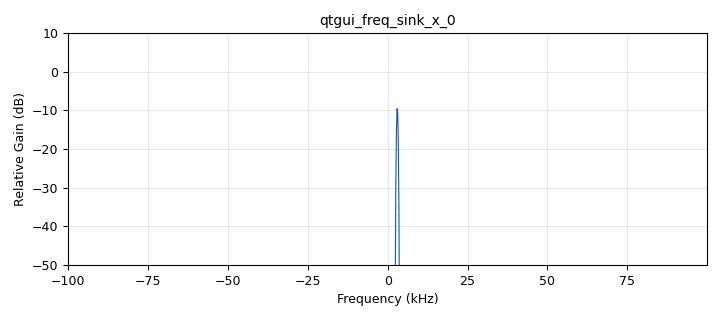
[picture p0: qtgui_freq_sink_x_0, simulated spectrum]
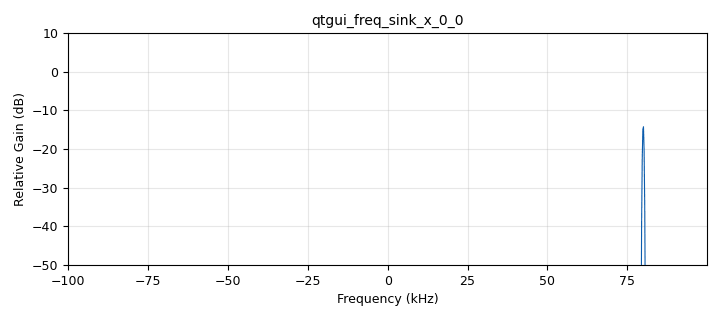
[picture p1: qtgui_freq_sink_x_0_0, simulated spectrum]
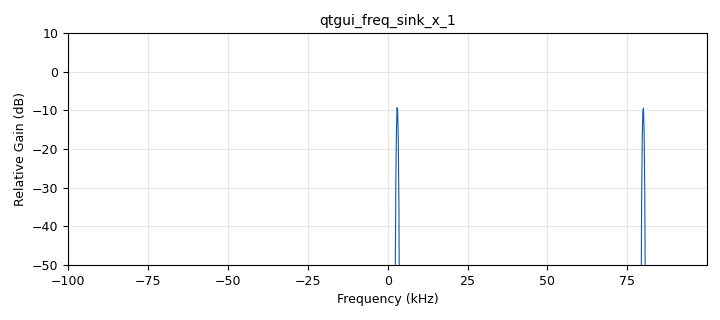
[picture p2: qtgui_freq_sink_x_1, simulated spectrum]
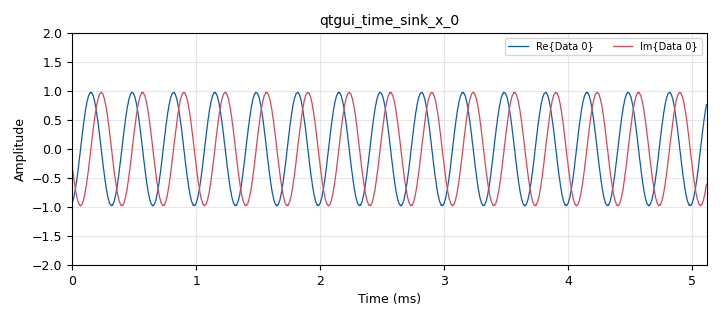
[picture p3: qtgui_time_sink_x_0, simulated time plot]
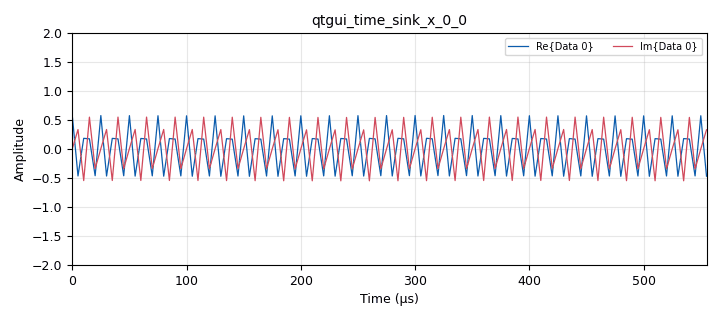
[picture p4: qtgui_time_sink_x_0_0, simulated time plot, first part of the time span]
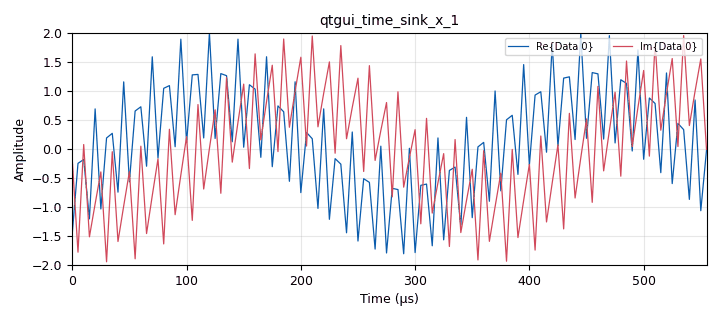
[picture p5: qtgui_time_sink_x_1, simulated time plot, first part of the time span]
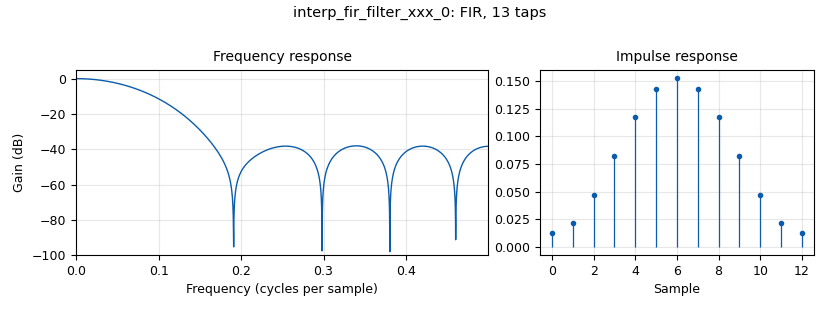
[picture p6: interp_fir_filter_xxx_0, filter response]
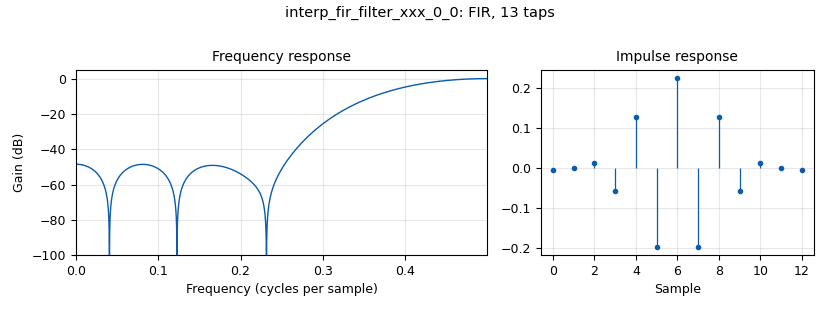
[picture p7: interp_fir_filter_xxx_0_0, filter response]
<?xml version='1.0' encoding='utf-8'?>
<?grc format='1' created='3.7.11'?>
<flow_graph>
<block>
<key>options</key>
<param><key>id</key><value>top_block</value></param>
<param><key>category</key><value>Custom</value></param>
<param><key>generate_options</key><value>qt_gui</value></param>
<param><key>title</key><value>Experimento Filtros</value></param>
</block>
<block>
<key>variable</key>
<param><key>id</key><value>samp_rate</value></param>
<param><key>value</key><value>200000</value></param>
</block>
<block>
<key>qtgui_tab_widget</key>
<param><key>id</key><value>aba</value></param>
<param><key>label0</key><value>Sinal Original</value></param>
<param><key>label1</key><value>Sinal filtrado (passa-baixa)</value></param>
<param><key>label2</key><value>Sinal filtrado (passa-alta)</value></param>
<param><key>num_tabs</key><value>3</value></param>
</block>
<block>
<key>analog_sig_source_x</key>
<param><key>id</key><value>analog_sig_source_x_0</value></param>
<param><key>amp</key><value>1</value></param>
<param><key>freq</key><value>3000</value></param>
<param><key>offset</key><value>0</value></param>
<param><key>type</key><value>complex</value></param>
<param><key>samp_rate</key><value>samp_rate</value></param>
<param><key>waveform</key><value>analog.GR_COS_WAVE</value></param>
</block>
<block>
<key>analog_sig_source_x</key>
<param><key>id</key><value>analog_sig_source_x_1</value></param>
<param><key>amp</key><value>1</value></param>
<param><key>freq</key><value>80000</value></param>
<param><key>offset</key><value>0</value></param>
<param><key>type</key><value>complex</value></param>
<param><key>samp_rate</key><value>samp_rate</value></param>
<param><key>waveform</key><value>analog.GR_COS_WAVE</value></param>
</block>
<block>
<key>blocks_add_xx</key>
<param><key>id</key><value>blocks_add_xx_0</value></param>
<param><key>type</key><value>complex</value></param>
</block>
<block>
<key>interp_fir_filter_xxx</key>
<param><key>id</key><value>interp_fir_filter_xxx_0</value></param>
<param><key>interp</key><value>1</value></param>
<param><key>taps</key><value>[0.012135352939367294, 0.02152285724878311, 0.04717971757054329, 0.0822787955403328, 0.11742003262042999, 0.14316627383232117, 0.1525939404964447, 0.14316627383232117, 0.11742003262042999, 0.0822787955403328, 0.04717971757054329, 0.02152285724878311, 0.012135352939367294]</value></param>
<param><key>type</key><value>ccc</value></param>
</block>
<block>
<key>interp_fir_filter_xxx</key>
<param><key>id</key><value>interp_fir_filter_xxx_0_0</value></param>
<param><key>interp</key><value>1</value></param>
<param><key>taps</key><value> [-0.0033143507316708565, 0.0015109963715076447, 0.012731443159282207, -0.0563313290476799, 0.12715941667556763, -0.19611933827400208, 0.22496764361858368, -0.19611933827400208, 0.12715941667556763, -0.0563313290476799, 0.012731443159282207, 0.0015109963715076447, -0.0033143507316708565]</value></param>
<param><key>type</key><value>ccc</value></param>
</block>
<block>
<key>qtgui_freq_sink_x</key>
<param><key>id</key><value>qtgui_freq_sink_x_0</value></param>
<param><key>bw</key><value>samp_rate</value></param>
<param><key>fc</key><value>0</value></param>
<param><key>fftsize</key><value>1024</value></param>
<param><key>gui_hint</key><value>aba@1:1,1</value></param>
<param><key>showports</key><value>True</value></param>
<param><key>type</key><value>complex</value></param>
<param><key>wintype</key><value>firdes.WIN_BLACKMAN_hARRIS</value></param>
<param><key>ymin</key><value>-50</value></param>
</block>
<block>
<key>qtgui_freq_sink_x</key>
<param><key>id</key><value>qtgui_freq_sink_x_0_0</value></param>
<param><key>bw</key><value>samp_rate</value></param>
<param><key>fc</key><value>0</value></param>
<param><key>fftsize</key><value>1024</value></param>
<param><key>gui_hint</key><value>aba@2:1,1</value></param>
<param><key>showports</key><value>True</value></param>
<param><key>type</key><value>complex</value></param>
<param><key>wintype</key><value>firdes.WIN_BLACKMAN_hARRIS</value></param>
<param><key>ymin</key><value>-50</value></param>
</block>
<block>
<key>qtgui_freq_sink_x</key>
<param><key>id</key><value>qtgui_freq_sink_x_1</value></param>
<param><key>bw</key><value>samp_rate</value></param>
<param><key>fc</key><value>0</value></param>
<param><key>fftsize</key><value>1024</value></param>
<param><key>gui_hint</key><value>aba@0:1,1</value></param>
<param><key>showports</key><value>True</value></param>
<param><key>type</key><value>complex</value></param>
<param><key>wintype</key><value>firdes.WIN_BLACKMAN_hARRIS</value></param>
<param><key>ymin</key><value>-50</value></param>
</block>
<block>
<key>qtgui_time_sink_x</key>
<param><key>id</key><value>qtgui_time_sink_x_0</value></param>
<param><key>gui_hint</key><value>aba@1:1,0</value></param>
<param><key>color1</key><value>"blue"</value></param>
<param><key>label1</key><value></value></param>
<param><key>color2</key><value>"red"</value></param>
<param><key>label2</key><value></value></param>
<param><key>size</key><value>1024</value></param>
<param><key>srate</key><value>samp_rate</value></param>
<param><key>type</key><value>complex</value></param>
<param><key>ymax</key><value>2</value></param>
<param><key>ymin</key><value>-2</value></param>
</block>
<block>
<key>qtgui_time_sink_x</key>
<param><key>id</key><value>qtgui_time_sink_x_0_0</value></param>
<param><key>gui_hint</key><value>aba@2:1,0</value></param>
<param><key>color1</key><value>"blue"</value></param>
<param><key>label1</key><value></value></param>
<param><key>color2</key><value>"red"</value></param>
<param><key>label2</key><value></value></param>
<param><key>size</key><value>1024</value></param>
<param><key>srate</key><value>samp_rate</value></param>
<param><key>type</key><value>complex</value></param>
<param><key>update_time</key><value>0.1</value></param>
<param><key>ymax</key><value>2</value></param>
<param><key>ymin</key><value>-2</value></param>
</block>
<block>
<key>qtgui_time_sink_x</key>
<param><key>id</key><value>qtgui_time_sink_x_1</value></param>
<param><key>gui_hint</key><value>aba@0:1,0</value></param>
<param><key>color1</key><value>"blue"</value></param>
<param><key>label1</key><value></value></param>
<param><key>color2</key><value>"red"</value></param>
<param><key>label2</key><value></value></param>
<param><key>size</key><value>1024</value></param>
<param><key>srate</key><value>samp_rate</value></param>
<param><key>type</key><value>complex</value></param>
<param><key>ymax</key><value>2</value></param>
<param><key>ymin</key><value>-2</value></param>
</block>
<connection><source_block_id>analog_sig_source_x_0</source_block_id><sink_block_id>blocks_add_xx_0</sink_block_id><source_key>0</source_key><sink_key>0</sink_key></connection>
<connection><source_block_id>analog_sig_source_x_1</source_block_id><sink_block_id>blocks_add_xx_0</sink_block_id><source_key>0</source_key><sink_key>1</sink_key></connection>
<connection><source_block_id>blocks_add_xx_0</source_block_id><sink_block_id>interp_fir_filter_xxx_0</sink_block_id><source_key>0</source_key><sink_key>0</sink_key></connection>
<connection><source_block_id>blocks_add_xx_0</source_block_id><sink_block_id>interp_fir_filter_xxx_0_0</sink_block_id><source_key>0</source_key><sink_key>0</sink_key></connection>
<connection><source_block_id>blocks_add_xx_0</source_block_id><sink_block_id>qtgui_freq_sink_x_1</sink_block_id><source_key>0</source_key><sink_key>0</sink_key></connection>
<connection><source_block_id>blocks_add_xx_0</source_block_id><sink_block_id>qtgui_time_sink_x_1</sink_block_id><source_key>0</source_key><sink_key>0</sink_key></connection>
<connection><source_block_id>interp_fir_filter_xxx_0</source_block_id><sink_block_id>qtgui_freq_sink_x_0</sink_block_id><source_key>0</source_key><sink_key>0</sink_key></connection>
<connection><source_block_id>interp_fir_filter_xxx_0</source_block_id><sink_block_id>qtgui_time_sink_x_0</sink_block_id><source_key>0</source_key><sink_key>0</sink_key></connection>
<connection><source_block_id>interp_fir_filter_xxx_0_0</source_block_id><sink_block_id>qtgui_freq_sink_x_0_0</sink_block_id><source_key>0</source_key><sink_key>0</sink_key></connection>
<connection><source_block_id>interp_fir_filter_xxx_0_0</source_block_id><sink_block_id>qtgui_time_sink_x_0_0</sink_block_id><source_key>0</source_key><sink_key>0</sink_key></connection>
</flow_graph>
